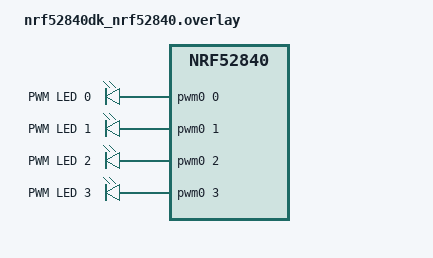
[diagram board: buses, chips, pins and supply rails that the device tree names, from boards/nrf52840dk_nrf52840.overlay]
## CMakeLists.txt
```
#-------------------------------------------------------------------------------
# Zephyr Example Application
#
# Copyright (c) 2021 Nordic Semiconductor ASA
# SPDX-License-Identifier: Apache-2.0

cmake_minimum_required(VERSION 3.13.1)
set(BOARD nrf52840dk/nrf52840)
find_package(Zephyr REQUIRED HINTS $ENV{ZEPHYR_BASE})

project(app LANGUAGES C)

zephyr_include_directories(src)

target_sources(app PRIVATE src/main.c)
target_sources(app PRIVATE src/my_state_machine.c)
```

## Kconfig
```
# Copyright (c) 2021 Nordic Semiconductor ASA
# SPDX-License-Identifier: Apache-2.0
#
# This file is the application Kconfig entry point. All application Kconfig
# options can be defined here or included via other application Kconfig files.
# You can browse these options using the west targets menuconfig (terminal) or
# guiconfig (GUI).

# Add EIE Kconfigs. This is at the top so it can override defaults from Zephyr
rsource "../drivers/Kconfig.eie"

menu "Zephyr"
source "Kconfig.zephyr"
endmenu

module = APP
module-str = APP
source "subsys/logging/Kconfig.template.log_config"
```

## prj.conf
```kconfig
# Copyright (c) 2021 Nordic Semiconductor ASA
# SPDX-License-Identifier: Apache-2.0
#
# This file contains selected Kconfig options for the application.

CONFIG_GPIO=y
CONFIG_SMF=y
CONFIG_PWM=y
CONFIG_EVENTS=y
```

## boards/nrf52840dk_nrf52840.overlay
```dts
/ {
    pwmleds {
        compatible = "pwm-leds";
        pwm_led0: pwm_led_0 {
            pwms = <&pwm0 0 PWM_MSEC(20) PWM_POLARITY_NORMAL>;
            label = "PWM LED 0";
        };
        pwm_led1: pwm_led_1 {
            pwms = <&pwm0 1 PWM_MSEC(20) PWM_POLARITY_NORMAL>;
            label = "PWM LED 1";
        };
        pwm_led2: pwm_led_2 {
            pwms = <&pwm0 2 PWM_MSEC(20) PWM_POLARITY_NORMAL>;
            label = "PWM LED 2";
        };
        pwm_led3: pwm_led_3 {
            pwms = <&pwm0 3 PWM_MSEC(20) PWM_POLARITY_NORMAL>;
            label = "PWM LED 3";
        };
    };

    aliases {
        pwm-led0 = &pwm_led0;
        pwm-led1 = &pwm_led1;
        pwm-led2 = &pwm_led2;
        pwm-led3 = &pwm_led3;
    };
};

&pinctrl { 
    pwm0_default: pwm0_default {
		group1 {
			psels = 
                <NRF_PSEL(PWM_OUT0, 0, 13)>, 
                <NRF_PSEL(PWM_OUT1, 0, 14)>, 
                <NRF_PSEL(PWM_OUT2, 0, 15)>, 
                <NRF_PSEL(PWM_OUT3, 0, 16)>;
			nordic,invert;
		};
	};

    pwm0_sleep: pwm0_sleep {
		group1 {
			psels = 
                <NRF_PSEL(PWM_OUT0, 0, 13)>, 
                <NRF_PSEL(PWM_OUT1, 0, 14)>, 
                <NRF_PSEL(PWM_OUT2, 0, 15)>, 
                <NRF_PSEL(PWM_OUT3, 0, 16)>;
			low-power-enable;
		};
	};
};
```

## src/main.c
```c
/**
  main.c
*/

#include <zephyr/kernel.h>
#include <zephyr/device.h>
#include <zephyr/drivers/gpio.h>
#include <zephyr/sys/printk.h>

#include "BTN.h"
#include "LED.h"
#include "my_state_machine.h"

#define SLEEP_MS 1

int main(void) {
  
  if (0 > BTN_init()) {
    return(0);
  }
  if (0 > LED_init()) {
    return(0);
  }

  state_machine_init();

  while (1) {
    
    int ret = state_machine_run();
    if (0 > ret) {
      return(0);
    }
  }
  return(0);
}
```

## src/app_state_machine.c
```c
/**
 * @file app_state_machine.c
 */

#include <zephyr/smf.h>
#include <zephyr/sys/printk.h>
#include <zephyr/drivers/gpio.h>
#include "LED.h"
#include "app_state_machine.h"

#define MAX_STRING_LENGTH 256
#define STANDBY_HOLD_TIME_MS 3000
#define SLEEP_MS 1

/*-------------------------------------------------------
 * Type Definitions
 *---------------------------------------------------------*/
enum states {
    STATE_CHAR_ENTRY,
    STATE_STRING_BUILD,
    STATE_STRING_READY,
    STATE_STANDBY
};

typedef struct {
    struct smf_ctx ctx;
    uint8_t current_char;
    uint8_t bit_position;
    char string_buffer[MAX_STRING_LENGTH];
    uint8_t string_length;
    enum states previous_state;
    uint32_t btn_hold_counter;
    uint32_t led_counter;
    uint8_t pwm_brightness;
    bool pwm_increasing;
    bool buttons_held[4];
    bool button_events[4];  // Event flags for button presses
} app_state_machine_t;

/*-------------------------------------------------------
 * Local Variables
 *---------------------------------------------------------*/
static app_state_machine_t sm;
static const struct smf_state states[];

/*-------------------------------------------------------
 * Helper Functions
 *---------------------------------------------------------*/
static void reset_character(void) {
    printk("[DEBUG] Resetting current character\n");
    sm.current_char = 65; // Start at 'A'
    sm.bit_position = 0;
    printk("[INFO] Character reset to 'A'\n");
}

static void reset_string(void) {
    printk("[DEBUG] Resetting entire string\n");
    sm.string_length = 0;
    for (int i = 0; i < MAX_STRING_LENGTH; i++) {
        sm.string_buffer[i] = '\0';
    }
    printk("[INFO] String buffer cleared\n");
}

// Display current character in binary on LED0-2 (lower 3 bits)
static void display_character_on_leds(void) {
    LED_set(LED0, (sm.current_char & 0x01) ? LED_ON : LED_OFF);
    LED_set(LED1, (sm.current_char & 0x02) ? LED_ON : LED_OFF);
    LED_set(LED2, (sm.current_char & 0x04) ? LED_ON : LED_OFF);
    // LED3 is used for state blinking indicator
}

// Print current character info to console
static void print_current_character(void) {
    printk("[INFO] Current: '%c' (ASCII %d, 0x%02X, 0b", 
           sm.current_char, sm.current_char, sm.current_char);
    for (int i = 7; i >= 0; i--) {
        printk("%d", (sm.current_char >> i) & 1);
    }
    printk(")\n");
}

static void print_string(void) {
    printk("\n╔══════════════════════════════════════════════╗\n");
    printk("║          STRING OUTPUT TO SERIAL             ║\n");
    printk("╚══════════════════════════════════════════════╝\n");
    printk("Length: %d characters\n", sm.string_length);
    printk("String: \"");
    for (int i = 0; i < sm.string_length; i++) {
        printk("%c", sm.string_buffer[i]);
    }
    printk("\"\n");
    printk("Hex: ");
    for (int i = 0; i < sm.string_length; i++) {
        printk("%02X ", sm.string_buffer[i]);
    }
    printk("\n");
    printk("═══════════════════════════════════════════════\n\n");
}

static void blink_led(led_id led) {
    LED_set(led, LED_ON);
    k_msleep(100);
    LED_set(led, LED_OFF);
}

/*-------------------------------------------------------
 * STATE 1: Character Entry (EFFICIENT METHOD)
 *---------------------------------------------------------*/
static void char_entry_entry(void *o) {
    printk("\n╔═══════════════════════════════════════════════╗\n");
    printk("║  STATE 1: CHARACTER ENTRY                    ║\n");
    printk("╚═══════════════════════════════════════════════╝\n");
    printk("Instructions:\n");
    printk("  BTN1: Previous character (←)\n");
    printk("  BTN2: Next character (→)\n");
    printk("  BTN3: Reset to 'A'\n");
    printk("  BTN4: Save character\n");
    printk("  Hold BTN1+BTN2 for 3s: Standby mode\n");
    printk("LED0-2 show character in binary\n");
    printk("LED3 blinking at 1 Hz\n\n");
    
    // Start at 'A' if not already set
    if (sm.current_char < 32 || sm.current_char > 126) {
        sm.current_char = 65; // 'A'
    }
    display_character_on_leds();
    print_current_character();
    sm.led_counter = 0;
}

static enum smf_state_result char_entry_run(void *o) {
    // LED3 blink at 1 Hz (500ms on, 500ms off)
    sm.led_counter++;
    if (sm.led_counter >= 500) {
        static bool led3_state = false;
        led3_state = !led3_state;
        LED_set(LED3, led3_state ? LED_ON : LED_OFF);
        sm.led_counter = 0;
    }
    
    // Check for standby hold (BTN0 + BTN1 for 3 seconds)
    if (sm.buttons_held[APP_BUTTON_0] && sm.buttons_held[APP_BUTTON_1]) {
        sm.btn_hold_counter++;
        if (sm.btn_hold_counter >= STANDBY_HOLD_TIME_MS) {
            printk("[INFO] BTN1+BTN2 held for 3s, entering STANDBY\n");
            sm.previous_state = STATE_CHAR_ENTRY;
            sm.btn_hold_counter = 0;
            smf_set_state(SMF_CTX(&sm), &states[STATE_STANDBY]);
            return SMF_EVENT_HANDLED;
        }
    } else {
        sm.btn_hold_counter = 0;
    }
    
    // Handle button press events
    // BTN0: Previous character (decrement)
    if (sm.button_events[APP_BUTTON_0]) {
        sm.button_events[APP_BUTTON_0] = false;
        printk("[EVENT] BTN1 pressed - Previous character\n");
        
        sm.current_char--;
        // Wrap around: space (32) to tilde (126)
        if (sm.current_char < 32) {
            sm.current_char = 126;
        }
        
        display_character_on_leds();
        print_current_character();
        blink_led(LED0);
    }
    
    // BTN1: Next character (increment)
    if (sm.button_events[APP_BUTTON_1]) {
        sm.button_events[APP_BUTTON_1] = false;
        printk("[EVENT] BTN2 pressed - Next character\n");
        
        sm.current_char++;
        // Wrap around: tilde (126) to space (32)
        if (sm.current_char > 126) {
            sm.current_char = 32;
        }
        
        display_character_on_leds();
        print_current_character();
        blink_led(LED1);
    }
    
    // BTN2: Reset to 'A'
    if (sm.button_events[APP_BUTTON_2]) {
        sm.button_events[APP_BUTTON_2] = false;
        printk("[EVENT] BTN3 pressed - Reset to 'A'\n");
        sm.current_char = 65; // 'A'
        display_character_on_leds();
        print_current_character();
    }
    
    // BTN3: Save character and move to STRING_BUILD
    if (sm.button_events[APP_BUTTON_3]) {
        sm.button_events[APP_BUTTON_3] = false;
        printk("[EVENT] BTN4 pressed - Saving character '%c'\n", sm.current_char);
        
        if (sm.string_length < MAX_STRING_LENGTH - 1) {
            sm.string_buffer[sm.string_length] = sm.current_char;
            sm.string_length++;
            printk("[SUCCESS] Character '%c' saved (string length: %d)\n", 
                   sm.current_char, sm.string_length);
            smf_set_state(SMF_CTX(&sm), &states[STATE_STRING_BUILD]);
        } else {
            printk("[ERROR] String buffer full!\n");
        }
    }
    
    return SMF_EVENT_HANDLED;
}

static void char_entry_exit(void *o) {
    printk("[STATE] Exiting CHARACTER ENTRY\n\n");
    LED_set(LED3, LED_OFF);
}

/*-------------------------------------------------------
 * STATE 2: String Building
 *---------------------------------------------------------*/
static void string_build_entry(void *o) {
    printk("\n╔═══════════════════════════════════════════════╗\n");
    printk("║  STATE 2: STRING BUILDING                    ║\n");
    printk("╚═══════════════════════════════════════════════╝\n");
    printk("Current string: \"");
    for (int i = 0; i < sm.string_length; i++) {
        printk("%c", sm.string_buffer[i]);
    }
    printk("\" (%d chars)\n", sm.string_length);
    printk("Instructions:\n");
    printk("  BTN1/BTN2: Select character\n");
    printk("  BTN3: Add character (continue building)\n");
    printk("  BTN4: Finish string\n");
    printk("LED3 blinking at 4 Hz\n\n");
    
    // Reset to 'A' for next character
    sm.current_char = 65;
    display_character_on_leds();
    print_current_character();
    sm.led_counter = 0;
}

static enum smf_state_result string_build_run(void *o) {
    // LED3 blink at 4 Hz (125ms on, 125ms off)
    sm.led_counter++;
    if (sm.led_counter >= 125) {
        static bool led3_state = false;
        led3_state = !led3_state;
        LED_set(LED3, led3_state ? LED_ON : LED_OFF);
        sm.led_counter = 0;
    }
    
    // Check for standby hold
    if (sm.buttons_held[APP_BUTTON_0] && sm.buttons_held[APP_BUTTON_1]) {
        sm.btn_hold_counter++;
        if (sm.btn_hold_counter >= STANDBY_HOLD_TIME_MS) {
            printk("[INFO] BTN1+BTN2 held for 3s, entering STANDBY\n");
            sm.previous_state = STATE_STRING_BUILD;
            sm.btn_hold_counter = 0;
            smf_set_state(SMF_CTX(&sm), &states[STATE_STANDBY]);
            return SMF_EVENT_HANDLED;
        }
    } else {
        sm.btn_hold_counter = 0;
    }
    
    // Handle button press events
    // BTN0: Previous character
    if (sm.button_events[APP_BUTTON_0]) {
        sm.button_events[APP_BUTTON_0] = false;
        printk("[EVENT] BTN1 pressed - Previous character\n");
        
        sm.current_char--;
        if (sm.current_char < 32) {
            sm.current_char = 126;
        }
        
        display_character_on_leds();
        print_current_character();
        blink_led(LED0);
    }
    
    // BTN1: Next character
    if (sm.button_events[APP_BUTTON_1]) {
        sm.button_events[APP_BUTTON_1] = false;
        printk("[EVENT] BTN2 pressed - Next character\n");
        
        sm.current_char++;
        if (sm.current_char > 126) {
            sm.current_char = 32;
        }
        
        display_character_on_leds();
        print_current_character();
        blink_led(LED1);
    }
    
    // BTN2: Add current character and stay in STRING_BUILD
    if (sm.button_events[APP_BUTTON_2]) {
        sm.button_events[APP_BUTTON_2] = false;
        printk("[EVENT] BTN3 pressed - Adding character\n");
        
        if (sm.string_length < MAX_STRING_LENGTH - 1) {
            sm.string_buffer[sm.string_length] = sm.current_char;
            sm.string_length++;
            printk("[SUCCESS] Character '%c' added (total: %d chars)\n", 
                   sm.current_char, sm.string_length);
            
            // Show current string
            printk("[INFO] Current string: \"");
            for (int i = 0; i < sm.string_length; i++) {
                printk("%c", sm.string_buffer[i]);
            }
            printk("\"\n");
            
            // Reset to 'A' for next character
            sm.current_char = 65;
            display_character_on_leds();
            print_current_character();
        } else {
            printk("[ERROR] String buffer full!\n");
        }
    }
    
    // BTN3: Finish string and move to STRING_READY (without adding current char)
    if (sm.button_events[APP_BUTTON_3]) {
        sm.button_events[APP_BUTTON_3] = false;
        printk("[EVENT] BTN4 pressed - Finishing string\n");
        
        if (sm.string_length > 0) {
            printk("[SUCCESS] String complete with %d characters\n", sm.string_length);
            smf_set_state(SMF_CTX(&sm), &states[STATE_STRING_READY]);
        } else {
            printk("[WARN] No characters in string! Add at least one character.\n");
            printk("[INFO] Returning to CHARACTER ENTRY\n");
            reset_character();
            smf_set_state(SMF_CTX(&sm), &states[STATE_CHAR_ENTRY]);
        }
    }
    
    return SMF_EVENT_HANDLED;
}

static void string_build_exit(void *o) {
    printk("[STATE] Exiting STRING BUILDING\n\n");
    LED_set(LED3, LED_OFF);
}

/*-------------------------------------------------------
 * STATE 3: String Ready
 *---------------------------------------------------------*/
static void string_ready_entry(void *o) {
    printk("\n╔═══════════════════════════════════════════════╗\n");
    printk("║  STATE 3: STRING READY                       ║\n");
    printk("╚═══════════════════════════════════════════════╝\n");
    printk("String ready to send: \"");
    for (int i = 0; i < sm.string_length; i++) {
        printk("%c", sm.string_buffer[i]);
    }
    printk("\" (%d chars)\n", sm.string_length);
    printk("Instructions:\n");
    printk("  BTN3: Delete string and start over\n");
    printk("  BTN4: Send to serial monitor\n");
    printk("LED3 blinking at 16 Hz\n\n");
    
    sm.led_counter = 0;
}

static enum smf_state_result string_ready_run(void *o) {
    // LED3 blink at 16 Hz (~31ms on, ~31ms off)
    sm.led_counter++;
    if (sm.led_counter >= 31) {
        static bool led3_state = false;
        led3_state = !led3_state;
        LED_set(LED3, led3_state ? LED_ON : LED_OFF);
        sm.led_counter = 0;
    }
    
    // Check for standby hold
    if (sm.buttons_held[APP_BUTTON_0] && sm.buttons_held[APP_BUTTON_1]) {
        sm.btn_hold_counter++;
        if (sm.btn_hold_counter >= STANDBY_HOLD_TIME_MS) {
            printk("[INFO] BTN1+BTN2 held for 3s, entering STANDBY\n");
            sm.previous_state = STATE_STRING_READY;
            sm.btn_hold_counter = 0;
            smf_set_state(SMF_CTX(&sm), &states[STATE_STANDBY]);
            return SMF_EVENT_HANDLED;
        }
    } else {
        sm.btn_hold_counter = 0;
    }
    
    // Handle button press events
    // BTN2: Delete string and go back to CHAR_ENTRY
    if (sm.button_events[APP_BUTTON_2]) {
        sm.button_events[APP_BUTTON_2] = false;
        printk("[EVENT] BTN3 pressed - Deleting string\n");
        reset_string();
        reset_character();
        smf_set_state(SMF_CTX(&sm), &states[STATE_CHAR_ENTRY]);
    }
    
    // BTN3: Print string to serial and go back to CHAR_ENTRY
    if (sm.button_events[APP_BUTTON_3]) {
        sm.button_events[APP_BUTTON_3] = false;
        printk("[EVENT] BTN4 pressed - Sending to serial\n");
        print_string();
        reset_string();
        reset_character();
        smf_set_state(SMF_CTX(&sm), &states[STATE_CHAR_ENTRY]);
    }
    
    return SMF_EVENT_HANDLED;
}

static void string_ready_exit(void *o) {
    printk("[STATE] Exiting STRING READY\n\n");
    LED_set(LED3, LED_OFF);
}

/*-------------------------------------------------------
 * STATE 4: Standby
 *---------------------------------------------------------*/
static void standby_entry(void *o) {
    printk("\n╔═══════════════════════════════════════════════╗\n");
    printk("║  STATE 4: STANDBY MODE                       ║\n");
    printk("╚═══════════════════════════════════════════════╝\n");
    printk("All LEDs pulsing smoothly...\n");
    printk("Press any button to return to previous state.\n\n");
    
    sm.pwm_brightness = 0;
    sm.pwm_increasing = true;
}

static enum smf_state_result standby_run(void *o) {
    // Pulse all LEDs with PWM (smooth breathing effect)
    if (sm.pwm_increasing) {
        sm.pwm_brightness += 2;
        if (sm.pwm_brightness >= 100) {
            sm.pwm_brightness = 100;
            sm.pwm_increasing = false;
        }
    } else {
        if (sm.pwm_brightness >= 2) {
            sm.pwm_brightness -= 2;
        } else {
            sm.pwm_brightness = 0;
            sm.pwm_increasing = true;
        }
    }
    
    LED_pwm(LED0, sm.pwm_brightness);
    LED_pwm(LED1, sm.pwm_brightness);
    LED_pwm(LED2, sm.pwm_brightness);
    LED_pwm(LED3, sm.pwm_brightness);
    
    // Check for any button press to exit
    for (int i = 0; i < 4; i++) {
        if (sm.button_events[i]) {
            sm.button_events[i] = false;
            printk("[EVENT] Button %d pressed - Exiting STANDBY\n", i + 1);
            smf_set_state(SMF_CTX(&sm), &states[sm.previous_state]);
            return SMF_EVENT_HANDLED;
        }
    }
    
    return SMF_EVENT_HANDLED;
}

static void standby_exit(void *o) {
    printk("[STATE] Exiting STANDBY MODE\n\n");
    
    // Turn off PWM on all LEDs
    LED_pwm(LED0, 0);
    LED_pwm(LED1, 0);
    LED_pwm(LED2, 0);
    LED_pwm(LED3, 0);
}

/*-------------------------------------------------------
 * State Table
 *---------------------------------------------------------*/
static const struct smf_state states[] = {
    [STATE_CHAR_ENTRY]   = SMF_CREATE_STATE(char_entry_entry, char_entry_run, char_entry_exit, NULL, NULL),
    [STATE_STRING_BUILD] = SMF_CREATE_STATE(string_build_entry, string_build_run, string_build_exit, NULL, NULL),
    [STATE_STRING_READY] = SMF_CREATE_STATE(string_ready_entry, string_ready_run, string_ready_exit, NULL, NULL),
    [STATE_STANDBY]      = SMF_CREATE_STATE(standby_entry, standby_run, standby_exit, NULL, NULL),
};

/*-------------------------------------------------------
 * Public Functions
 *---------------------------------------------------------*/
void app_state_machine_init(void) {
    // Initialize all variables
    sm.current_char = 65; // Start at 'A'
    reset_string();
    sm.previous_state = STATE_CHAR_ENTRY;
    sm.btn_hold_counter = 0;
    sm.led_counter = 0;
    sm.pwm_brightness = 0;
    sm.pwm_increasing = true;
    
    for (int i = 0; i < 4; i++) {
        sm.buttons_held[i] = false;
        sm.button_events[i] = false;
    }
    
    printk("\n\n");
    printk("╔══════════════════════════════════════════════════╗\n");
    printk("║                                                  ║\n");
    printk("║     ASCII String Entry State Machine            ║\n");
    printk("║     Mini Project - EiE                          ║\n");
    printk("║     EFFICIENT CHARACTER SELECTION MODE          ║\n");
    printk("║                                                  ║\n");
    printk("╚══════════════════════════════════════════════════╝\n");
    printk("\n");
    
    // Start in character entry state
    smf_set_initial(SMF_CTX(&sm), &states[STATE_CHAR_ENTRY]);
}

int app_state_machine_run(void) {
    return smf_run_state(SMF_CTX(&sm));
}

void app_state_machine_button_press(app_button_t button) {
    if (button < 4) {
        sm.buttons_held[button] = true;
        sm.button_events[button] = true;
        printk("[INPUT] Button %d pressed\n", button + 1);
    }
}

void app_state_machine_button_release(app_button_t button) {
    if (button < 4) {
        sm.buttons_held[button] = false;
        printk("[INPUT] Button %d released\n", button + 1);
    }
}
```

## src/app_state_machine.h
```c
/**
 * @file app_state_machine.h
 */

#ifndef APP_STATE_MACHINE_H
#define APP_STATE_MACHINE_H

#include <stdbool.h>
#include <stdint.h>

typedef enum {
    APP_BUTTON_0 = 0,
    APP_BUTTON_1 = 1,
    APP_BUTTON_2 = 2,
    APP_BUTTON_3 = 3
} app_button_t;

void app_state_machine_init(void);
int app_state_machine_run(void);
void app_state_machine_button_press(app_button_t button);
void app_state_machine_button_release(app_button_t button);

#endif // APP_STATE_MACHINE_H
```

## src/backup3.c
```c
/*
 * main.c
 */

#include <zephyr/kernel.h>
#include <zephyr/device.h>
#include <zephyr/drivers/gpio.h>
#include <zephyr/sys/printk.h>
#include <inttypes.h>

#define LED0_NODE DT_ALIAS(led0)
#define LED1_NODE DT_ALIAS(led1)  
#define LED2_NODE DT_ALIAS(led2)  
#define LED3_NODE DT_ALIAS(led3)

static const struct gpio_dt_spec led0 = GPIO_DT_SPEC_GET(LED0_NODE,gpios);
static const struct gpio_dt_spec led1 = GPIO_DT_SPEC_GET(LED1_NODE,gpios);
static const struct gpio_dt_spec led2 = GPIO_DT_SPEC_GET(LED2_NODE,gpios);
static const struct gpio_dt_spec led3 = GPIO_DT_SPEC_GET(LED3_NODE,gpios);

int main(void) {
    int ret;

    if(!gpio_is_ready_dt(&led0) || !gpio_is_ready_dt(&led1) || !gpio_is_ready_dt(&led2) || !gpio_is_ready_dt(&led3)) {
        return -1;
    }

    ret = gpio_pin_configure_dt(&led0,GPIO_OUTPUT_INACTIVE);
    if(ret<0) {
        return ret;
    }
    ret = gpio_pin_configure_dt(&led1,GPIO_OUTPUT_INACTIVE);
    if(ret<0) {
        return ret;
    }
    ret = gpio_pin_configure_dt(&led2,GPIO_OUTPUT_INACTIVE);
    if(ret<0) {
        return ret;
    }
    ret = gpio_pin_configure_dt(&led3,GPIO_OUTPUT_INACTIVE);
    if(ret<0) {
        return ret;
    }

    while(1) { //RAINDROP SHIT!
        gpio_pin_toggle_dt(&led0);
        k_msleep(50);
        gpio_pin_toggle_dt(&led2);
        k_msleep(50);
        gpio_pin_toggle_dt(&led0);
        k_msleep(50);
        gpio_pin_toggle_dt(&led2);
        k_msleep(100);

        gpio_pin_toggle_dt(&led1);
        k_msleep(50);
        gpio_pin_toggle_dt(&led3);
        k_msleep(50);
        gpio_pin_toggle_dt(&led1);
        k_msleep(50);
        gpio_pin_toggle_dt(&led3);
        k_msleep(100);

    }
    return 0;
}
```

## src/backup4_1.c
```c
/*
 * main.c
 */

#include <zephyr/kernel.h>
#include <zephyr/device.h>
#include <zephyr/drivers/gpio.h>
#include <zephyr/sys/printk.h>
#include <inttypes.h>

#include "BTN.h"
#include "LED.h"

#define SLEEP_TIME_MS 1000

#define SW0_NODE DT_ALIAS(sw0)

static const struct gpio_dt_spec button = GPIO_DT_SPEC_GET(SW0_NODE,gpios);
static struct gpio_callback button_isr_data;

void button_isr(const struct device *dev, struct gpio_callback *cb, uint32_t pins) {
    printk("BUTTON PRESSED!\n");
}

int main(void) {
    int ret;

    if(!gpio_is_ready_dt(&button)) {
        return 0;
    }

    ret = gpio_pin_configure_dt(&button,GPIO_INPUT);
    if (0 > ret) {
        return 0;
    }

    ret = gpio_pin_interrupt_configure_dt(&button,GPIO_INT_EDGE_TO_ACTIVE);
    if (0 > ret) {
        return 0;
    }

    gpio_init_callback(&button_isr_data,button_isr,BIT(button.pin));
    gpio_add_callback(button.port,&button_isr_data);

    return 0;
}
```

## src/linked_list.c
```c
/**
 * @file linked_list.c
 *
 */

#include "linked_list.h"

#include <assert.h>
#include <stdint.h>
#include <stdlib.h>
#include <zephyr/sys/printk.h>

typedef struct node {
  uint32_t data;
  struct node* next;
  struct node* prev;
} node_t;

typedef struct linked_list {
  node_t* head;
  node_t* cursor;
} linked_list_t;

linked_list_t* ll_create_new(void) {
  linked_list_t* linked_list = malloc(sizeof(linked_list_t));
  assert(linked_list);

  linked_list->head = NULL;
  linked_list->cursor = NULL;

  return linked_list;
}

void ll_destroy(linked_list_t* linked_list) {
  if (linked_list == NULL) {
    return;
  }
  // Find all nodes in the linked list and free them
  node_t* node = linked_list->head;
  while (node != NULL) {
    node_t* next_node = node->next;
    free(node);

    node = next_node;
  }

  // Free the full linked list object
  free(linked_list);
}

void ll_append_data(linked_list_t* linked_list, int32_t data) {
  if (linked_list == NULL) {
    return;
  }
  node_t* new_node = malloc(sizeof(node_t));
  assert(new_node);
  new_node->data = data;
  new_node->next = NULL;

  // If this is a new linked list update the head and cursor
  if (linked_list->head == NULL) {
    linked_list->head = new_node;
    linked_list->cursor = new_node;
    new_node->prev = NULL;
    return;
  }

  // Seek the current tail
  node_t* node;
  for (node = linked_list->head; node->next != NULL; node = node->next);

  // Update the tail with the new node
  node->next = new_node;
  new_node->prev = node;
}

void ll_add_data_at_cursor(linked_list_t* linked_list, int32_t data) {
  if (linked_list == NULL) {
    return;
  } else if (linked_list->cursor == NULL) {
    // If the cursor is null the list hasn't been initialized. Append
    // data already handles initialization so just use it.
    ll_append_data(linked_list, data);
    return;
  }

  node_t* new_node = malloc(sizeof(node_t));
  assert(new_node);
  new_node->data = data;

  // Update linkage
  if (linked_list->cursor->next != NULL) {
    linked_list->cursor->next->prev = new_node;
  }
  new_node->next = linked_list->cursor->next;
  new_node->prev = linked_list->cursor;
  linked_list->cursor->next = new_node;
};

void ll_remove_data_at_cursor(linked_list_t* linked_list) {
  // Check for null pointers. Return early if a null pointer is passed in
  if (linked_list == NULL || linked_list->cursor == NULL) {
    return;
  }
  // Create a local copy of the cursor for convenience.
  node_t* cursor = linked_list->cursor;

  // Get the elements before and after the cursor accounting for null
  node_t* before_cursor = NULL;
  if (cursor->prev != NULL) {
    before_cursor = cursor->prev;
  }
  node_t* after_cursor = NULL;
  if (cursor->next != NULL) {
    after_cursor = cursor->next;
  }

  // Update where the pointers are pointing. The element before the
  // cursor should now be pointing to the element after the cursor and
  // vice versa
  if (before_cursor != NULL) {
    // Hint something is missing here:

    // Update the cursor in the linked list to point to the element that
    // was before the cursor
    linked_list->cursor = before_cursor;
  } else {
    // If the element before the cursor was null, that means the cursor
    // was at the head so update both the cursor and head to point to
    // the element that was after the cursor.
    linked_list->cursor = after_cursor;
    linked_list->head = after_cursor;
  }
  if (after_cursor != NULL) {
    after_cursor->prev = before_cursor;
  }

  free(cursor);
}

void ll_cursor_move_forward(linked_list_t* linked_list, int n) {
  if (linked_list == NULL || linked_list->cursor == NULL) {
    return;
  }

  for (int i = 0; i < n && linked_list->cursor->next != NULL; i++) {
    linked_list->cursor = linked_list->cursor->next;
  }
}

void ll_cursor_move_back(linked_list_t* linked_list, int n) {
  if (linked_list == NULL || linked_list->cursor == NULL) {
    return;
  }

  for (int i = 0; i < n && linked_list->cursor->prev != NULL; i++) {
    linked_list->cursor = linked_list->cursor->prev;
  }
}

int32_t ll_cursor_get_data(linked_list_t* linked_list) {
  if (linked_list == NULL || linked_list->cursor == NULL) {
    return 0xFFFFFFFF;
  }

  return linked_list->cursor->data;
}

void ll_print_data(linked_list_t const* linked_list) {
  if (linked_list == NULL) {
    return;
  }
  for (node_t const* node = linked_list->head; node != NULL;
       node = node->next) {
    printk("%d ", node->data);
  }
  printk("\n");
}

void ll_print_data_reverse(linked_list_t const* linked_list) {
  if (linked_list == NULL || linked_list->head == NULL) {
    return;
  }

  node_t const* node;
  for (node = linked_list->head; node->next != NULL; node = node->next);

  for (; node != NULL; node = node->prev) {
    printk("%d ", node->data);
  }
  printk("\n");
}
```

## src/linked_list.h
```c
/**
 * @file linked_list.h
 *
 * @brief Doubly linked list API used by the sample application.
 */

#include <stdint.h>

typedef struct linked_list linked_list_t;

/**
 * @brief Creates a new empty linked list.
 *
 * @return Pointer to a newly allocated linked list object.
 */
linked_list_t* ll_create_new(void);

/**
 * @brief Frees all nodes in the list and then frees the list object itself.
 *
 * @param linked_list Pointer to the list to destroy. If NULL, no action is
 * taken.
 */
void ll_destroy(linked_list_t* linked_list);

/**
 * @brief Appends data to the end of the list.
 *
 * If the list is empty, the new node becomes both the head and the cursor.
 *
 * @param linked_list Pointer to the list to modify.
 * @param data Integer value to insert at the tail of the list.
 */
void ll_append_data(linked_list_t* linked_list, int32_t data);

/**
 * @brief Inserts data immediately after the current cursor position.
 *
 * If the list is empty or the cursor is NULL, the data is appended to the end
 * of the list, which initializes the list as needed.
 *
 * @param linked_list Pointer to the list to modify.
 * @param data Integer value to insert after the current cursor node.
 */
void ll_add_data_at_cursor(linked_list_t* linked_list, int32_t data);

/**
 * @brief Removes the node currently pointed to by the cursor.
 *
 * The cursor is advanced to the next node if one exists; otherwise it moves to
 * the previous node. If the list becomes empty, the head and cursor are set to
 * NULL.
 *
 * @param linked_list Pointer to the list to modify.
 */
void ll_remove_data_at_cursor(linked_list_t* linked_list);

/**
 * @brief Returns the data stored in the current cursor node.
 *
 * @param linked_list Pointer to the list being queried.
 * @return The data value at the cursor, or 0xFFFFFFFF if the list or cursor is
 * NULL.
 */
int32_t ll_cursor_get_data(linked_list_t* linked_list);

/**
 * @brief Moves the cursor forward by up to n elements.
 *
 * The cursor stops when it reaches the tail or when n steps have been taken.
 *
 * @param linked_list Pointer to the list to modify.
 * @param n Maximum number of nodes to move forward.
 */
void ll_cursor_move_forward(linked_list_t* linked_list, int n);

/**
 * @brief Moves the cursor backward by up to n elements.
 *
 * The cursor stops when it reaches the head or when n steps have been taken.
 *
 * @param linked_list Pointer to the list to modify.
 * @param n Maximum number of nodes to move backward.
 */
void ll_cursor_move_back(linked_list_t* linked_list, int n);

/**
 * @brief Prints the list in forward order from head to tail.
 *
 * @param linked_list Pointer to the list to print. If NULL, no output is
 * produced.
 */
void ll_print_data(linked_list_t const* linked_list);

/**
 * @brief Prints the list in reverse order from tail to head.
 *
 * @param linked_list Pointer to the list to print. If NULL, no output is
 * produced.
 */
void ll_print_data_reverse(linked_list_t const* linked_list);
```

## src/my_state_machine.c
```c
/**
*   @file my_state_machine.c
*/
#include "my_state_machine.h"

#include <zephyr/kernel.h>
#include <zephyr/smf.h>

#include "BTN.h"
#include "LED.h"

static void led_on_state_entry(void* o);
static enum smf_state_result led_on_state_run(void* o);
static void led_off_state_entry(void* o);
static enum smf_state_result led_off_state_run(void* o);

enum led_state_machine_states {
    LED_ON_STATE,
    LED_OFF_STATE
};

typedef struct {
    struct smf_ctx ctx;

    uint16_t events;
} led_state_object_t;

static const struct smf_state led_states[] = {
    [LED_ON_STATE] = SMF_CREATE_STATE(led_on_state_entry, led_on_state_run, NULL, NULL, NULL),
    [LED_OFF_STATE] = SMF_CREATE_STATE(led_off_state_entry, led_off_state_run, NULL, NULL, NULL)
};

static led_state_object_t led_state_object;

void state_machine_init() {
    led_state_object.events = 0;
    smf_set_initial(SMF_CTX(&led_state_object), &led_states[LED_ON_STATE]);
}

int state_machine_run() {
    led_state_object.events = k_event_wait_safe(&btn_event, BTN_ANY_EVENT, false, K_FOREVER);
    return(smf_run_state(SMF_CTX(&led_state_object)));
}

static void led_on_state_entry(void* o) {
    LED_set(LED0, LED_ON);
}

static enum smf_state_result led_on_state_run(void* o) {
    if (led_state_object.events & BTN0_EVENT) {
        smf_set_state(SMF_CTX(&led_state_object), &led_states[LED_OFF_STATE]);
    }
    return SMF_EVENT_HANDLED;
}

static void led_off_state_entry(void* o) {
    LED_set(LED0, LED_OFF);
}

static enum smf_state_result led_off_state_run(void* o) {
    if (led_state_object.events & BTN1_EVENT) {
        smf_set_state(SMF_CTX(&led_state_object), &led_states[LED_ON_STATE]);
    }

    return SMF_EVENT_HANDLED;
}
```

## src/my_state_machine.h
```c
/**
*   @file my_state_machine.h
*/

#ifndef MY_STATE_MACHINE_H
#define MY_STATE_MACHINE_H

void state_machine_init();

int state_machine_run();

#endif
```

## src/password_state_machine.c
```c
/**
 * @file password_state_machine.c
 */

#include <zephyr/smf.h>
#include <zephyr/sys/printk.h>
#include <zephyr/drivers/gpio.h>
#include "password_state_machine.h"

/*-------------------------------------------------------
 * Configuration
 *---------------------------------------------------------*/
#define PASSWORD_LENGTH 4
#define LED0_NODE DT_ALIAS(led0)

static const struct gpio_dt_spec led0 = GPIO_DT_SPEC_GET(LED0_NODE, gpios);
static const uint8_t correct_password[PASSWORD_LENGTH] = {0, 0, 0, 0}; // BTN1 four times

/*-------------------------------------------------------
 * Type Definitions
 *---------------------------------------------------------*/
enum password_states {
    STATE_LOCKED,
    STATE_UNLOCKED
};

typedef struct {
    struct smf_ctx ctx;
    uint8_t password_buffer[PASSWORD_LENGTH];
    uint8_t password_index;
    bool button_event[4];  // Track button press events
} password_state_machine_t;

/*-------------------------------------------------------
 * Local Variables
 *---------------------------------------------------------*/
static password_state_machine_t psm_object;
static const struct smf_state password_states[];

/*-------------------------------------------------------
 * Helper Functions
 *---------------------------------------------------------*/
static void reset_password_entry(void) {
    psm_object.password_index = 0;
    for(int i = 0; i < PASSWORD_LENGTH; i++) {
        psm_object.password_buffer[i] = 0xFF;
    }
}

static bool check_password(void) {
    if(psm_object.password_index != PASSWORD_LENGTH) {
        return false;
    }
    
    for(int i = 0; i < PASSWORD_LENGTH; i++) {
        if(psm_object.password_buffer[i] != correct_password[i]) {
            return false;
        }
    }
    return true;
}

/*-------------------------------------------------------
 * State: LOCKED
 *---------------------------------------------------------*/
static void locked_state_entry(void *o) {
    printk("\n=== Entering LOCKED State ===\n");
    printk("LED ON - System Locked\n");
    printk("Enter password: BTN1, BTN1, BTN1, BTN1\n");
    printk("Press BTN4 to submit\n\n");
    
    gpio_pin_set_dt(&led0, 1);  // LED ON
    reset_password_entry();
}

static enum smf_state_result locked_state_run(void *o) {
    // Handle BTN0 (digit 0)
    if(psm_object.button_event[PASSWORD_BUTTON_0]) {
        psm_object.button_event[PASSWORD_BUTTON_0] = false;
        if(psm_object.password_index < PASSWORD_LENGTH) {
            psm_object.password_buffer[psm_object.password_index] = 0;
            psm_object.password_index++;
            printk("Entered: BTN1 (digit %d/%d)\n", 
                   psm_object.password_index, PASSWORD_LENGTH);
        }
    }
    
    // Handle BTN1 (digit 1)
    if(psm_object.button_event[PASSWORD_BUTTON_1]) {
        psm_object.button_event[PASSWORD_BUTTON_1] = false;
        if(psm_object.password_index < PASSWORD_LENGTH) {
            psm_object.password_buffer[psm_object.password_index] = 1;
            psm_object.password_index++;
            printk("Entered: BTN2 (digit %d/%d)\n", 
                   psm_object.password_index, PASSWORD_LENGTH);
        }
    }
    
    // Handle BTN2 (digit 2)
    if(psm_object.button_event[PASSWORD_BUTTON_2]) {
        psm_object.button_event[PASSWORD_BUTTON_2] = false;
        if(psm_object.password_index < PASSWORD_LENGTH) {
            psm_object.password_buffer[psm_object.password_index] = 2;
            psm_object.password_index++;
            printk("Entered: BTN3 (digit %d/%d)\n", 
                   psm_object.password_index, PASSWORD_LENGTH);
        }
    }
    
    // Handle BTN3 (Enter button)
    if(psm_object.button_event[PASSWORD_BUTTON_3]) {
        psm_object.button_event[PASSWORD_BUTTON_3] = false;
        
        if(check_password()) {
            printk("\n*** PASSWORD CORRECT! ***\n");
            smf_set_state(SMF_CTX(&psm_object), &password_states[STATE_UNLOCKED]);
        } else {
            printk("\n*** PASSWORD INCORRECT! ***\n");
            printk("Try again...\n\n");
            reset_password_entry();
        }
    }
    
    return SMF_EVENT_HANDLED;
}

static void locked_state_exit(void *o) {
    printk("=== Exiting LOCKED State ===\n\n");
}

/*-------------------------------------------------------
 * State: UNLOCKED
 *---------------------------------------------------------*/
static void unlocked_state_entry(void *o) {
    printk("=== Entering UNLOCKED State ===\n");
    printk("LED OFF - System Unlocked\n");
    printk("Press any button to lock again\n\n");
    
    gpio_pin_set_dt(&led0, 0);  // LED OFF
}

static enum smf_state_result unlocked_state_run(void *o) {
    // Any button press transitions back to LOCKED
    if(psm_object.button_event[PASSWORD_BUTTON_0] ||
       psm_object.button_event[PASSWORD_BUTTON_1] ||
       psm_object.button_event[PASSWORD_BUTTON_2] ||
       psm_object.button_event[PASSWORD_BUTTON_3]) {
        
        // Clear all button events
        for(int i = 0; i < 4; i++) {
            psm_object.button_event[i] = false;
        }
        
        printk("Button pressed - Locking system...\n");
        smf_set_state(SMF_CTX(&psm_object), &password_states[STATE_LOCKED]);
    }
    
    return SMF_EVENT_HANDLED;
}

static void unlocked_state_exit(void *o) {
    printk("=== Exiting UNLOCKED State ===\n\n");
}

/*-------------------------------------------------------
 * State Table
 *---------------------------------------------------------*/
static const struct smf_state password_states[] = {
    [STATE_LOCKED]   = SMF_CREATE_STATE(locked_state_entry, locked_state_run, 
                                        locked_state_exit, NULL, NULL),
    [STATE_UNLOCKED] = SMF_CREATE_STATE(unlocked_state_entry, unlocked_state_run, 
                                        unlocked_state_exit, NULL, NULL),
};

/*-------------------------------------------------------
 * Public Functions
 *---------------------------------------------------------*/
void password_state_machine_init(void) {
    // Initialize GPIO
    if(!gpio_is_ready_dt(&led0)) {
        printk("Error: LED not ready\n");
        return;
    }
    
    int ret = gpio_pin_configure_dt(&led0, GPIO_OUTPUT_ACTIVE);
    if(ret < 0) {
        printk("Error: Failed to configure LED\n");
        return;
    }
    
    // Initialize state machine variables
    reset_password_entry();
    for(int i = 0; i < 4; i++) {
        psm_object.button_event[i] = false;
    }
    
    printk("\n*** Password Lock System Initialized ***\n");
    printk("Correct password: BTN1, BTN1, BTN1, BTN1\n\n");
    
    // Start in LOCKED state
    smf_set_initial(SMF_CTX(&psm_object), &password_states[STATE_LOCKED]);
}

int password_state_machine_run(void) {
    return smf_run_state(SMF_CTX(&psm_object));
}

void password_state_machine_button_press(password_button_t button) {
    if(button < 4) {
        psm_object.button_event[button] = true;
    }
}
```

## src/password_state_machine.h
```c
/**
 * @file password_state_machine.h
 */

#ifndef PASSWORD_STATE_MACHINE_H
#define PASSWORD_STATE_MACHINE_H

#include <stdbool.h>
#include <stdint.h>

typedef enum {
    PASSWORD_BUTTON_0 = 0,
    PASSWORD_BUTTON_1 = 1,
    PASSWORD_BUTTON_2 = 2,
    PASSWORD_BUTTON_3 = 3  // Enter button
} password_button_t;

void password_state_machine_init(void);
int password_state_machine_run(void);
void password_state_machine_button_press(password_button_t button);

#endif // PASSWORD_STATE_MACHINE_H
```

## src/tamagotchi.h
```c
/**
 * @file tamagotchi.h
 * @brief Tamagotchi Virtual Pet State Machine
 */

#ifndef TAMAGOTCHI_H
#define TAMAGOTCHI_H

#include <stdint.h>
#include <stdbool.h>

typedef enum {
    TAMA_BUTTON_FEED = 0,    // BTN1
    TAMA_BUTTON_PLAY = 1,    // BTN2
    TAMA_BUTTON_CLEAN = 2,   // BTN3
    TAMA_BUTTON_LIGHT = 3    // BTN4
} tamagotchi_button_t;

void tamagotchi_init(void);
int tamagotchi_run(void);
void tamagotchi_button_press(tamagotchi_button_t button);
void tamagotchi_button_release(tamagotchi_button_t button);

#endif // TAMAGOTCHI_H
```
